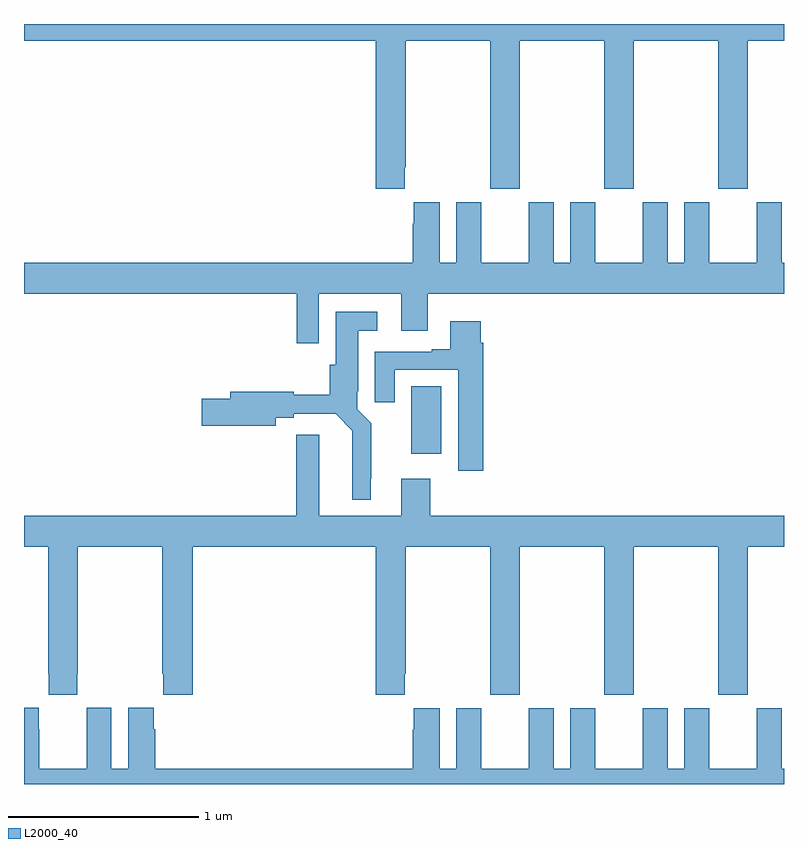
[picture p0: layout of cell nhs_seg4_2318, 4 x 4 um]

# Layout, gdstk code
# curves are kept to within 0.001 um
import gdstk
lib = gdstk.Library(unit=1e-6, precision=1e-09)
def R(c, l, rs):  # rectangles x0, y0, x1, y1
    for r in rs: c.add(gdstk.rectangle(r[:2], r[2:], *l))
def P(c, l, *ps):  # polygons
    for p in ps: c.add(gdstk.Polygon(p, *l))
L2000_40 = (2000, 40)

nhs_seg4_2318 = lib.new_cell('nhs_seg4_2318')
R(nhs_seg4_2318, L2000_40, [(233.039,802.638,233.197,802.994)])
P(nhs_seg4_2318, L2000_40, [(233.005,804.145),(233.01,804.145),(233.01,804.812),(233.455,804.812),(233.455,804.033),(233.61,804.033),(233.61,804.812),(234.055,804.812),(234.055,804.033),(234.21,804.033),(234.21,804.812),(234.655,804.812),(234.655,804.033),(234.81,804.033),(234.81,804.812),(235,804.812),(235,804.9),(231,804.9),(231,804.812),(232.85,804.812),(232.85,804.033),(233.005,804.033)],
  [(232.551,803.48),(232.985,803.48),(232.985,803.286),(233.125,803.286),(233.125,803.48),(235,803.48),(235,803.644),(234.988,803.644),(234.988,803.962),(234.857,803.962),(234.857,803.644),(234.607,803.644),(234.607,803.962),(234.476,803.962),(234.476,803.644),(234.388,803.644),(234.388,803.962),(234.257,803.962),(234.257,803.644),(234.007,803.644),(234.007,803.962),(233.876,803.962),(233.876,803.644),(233.788,803.644),(233.788,803.962),(233.657,803.962),(233.657,803.644),(233.407,803.644),(233.407,803.962),(233.276,803.962),(233.276,803.644),(233.188,803.644),(233.188,803.962),(233.051,803.962),(233.051,803.849),(233.045,803.849),(233.045,803.644),(231,803.644),(231,803.48),(232.435,803.48),(232.435,803.22),(232.551,803.22)],
  [(232.825,802.507),(232.828,802.507),(232.828,802.799),(232.755,802.872),(232.755,802.966),(232.759,802.966),(232.759,803.285),(232.858,803.285),(232.858,803.386),(232.64,803.386),(232.64,803.106),(232.61,803.106),(232.61,802.949),(232.42,802.949),(232.42,802.964),(232.085,802.964),(232.085,802.928),(231.936,802.928),(231.936,802.786),(232.324,802.786),(232.324,802.828),(232.42,802.828),(232.42,802.848),(232.64,802.848),(232.728,802.76),(232.727,802.397),(232.825,802.397)],
  [(233.417,803.222),(233.404,803.222),(233.404,803.335),(233.243,803.335),(233.243,803.188),(233.147,803.188),(233.147,803.175),(232.847,803.175),(232.847,802.908),(232.951,802.908),(232.951,803.079),(233.285,803.079),(233.285,802.548),(233.417,802.548)],
  [(233.005,801.481),(233.01,801.481),(233.01,802.148),(233.455,802.148),(233.455,801.369),(233.61,801.369),(233.61,802.148),(234.055,802.148),(234.055,801.369),(234.21,801.369),(234.21,802.148),(234.655,802.148),(234.655,801.369),(234.81,801.369),(234.81,802.148),(235,802.148),(235,802.312),(233.138,802.312),(233.138,802.507),(232.985,802.507),(232.985,802.312),(232.555,802.312),(232.555,802.738),(232.433,802.738),(232.433,802.312),(231,802.312),(231,802.148),(231.127,802.148),(231.127,801.481),(231.129,801.481),(231.129,801.369),(231.279,801.369),(231.279,801.481),(231.282,801.481),(231.282,802.148),(231.727,802.148),(231.727,801.481),(231.733,801.481),(231.733,801.369),(231.887,801.369),(231.887,802.148),(232.85,802.148),(232.85,801.369),(233.005,801.369)],
  [(235,800.98),(234.988,800.98),(234.988,801.298),(234.857,801.298),(234.857,800.98),(234.607,800.98),(234.607,801.298),(234.476,801.298),(234.476,800.98),(234.388,800.98),(234.388,801.298),(234.257,801.298),(234.257,800.98),(234.007,800.98),(234.007,801.298),(233.876,801.298),(233.876,800.98),(233.788,800.98),(233.788,801.298),(233.657,801.298),(233.657,800.98),(233.407,800.98),(233.407,801.298),(233.276,801.298),(233.276,800.98),(233.188,800.98),(233.188,801.298),(233.051,801.298),(233.051,801.185),(233.045,801.185),(233.045,800.98),(231.692,800.98),(231.692,801.188),(231.682,801.188),(231.682,801.301),(231.548,801.301),(231.548,800.98),(231.46,800.98),(231.46,801.301),(231.33,801.301),(231.33,801.188),(231.329,801.188),(231.329,800.98),(231.079,800.98),(231.079,801.188),(231.078,801.188),(231.078,801.301),(231,801.301),(231,800.9),(235,800.9)])

lib.write_gds('nhs_seg4_2318.gds')
